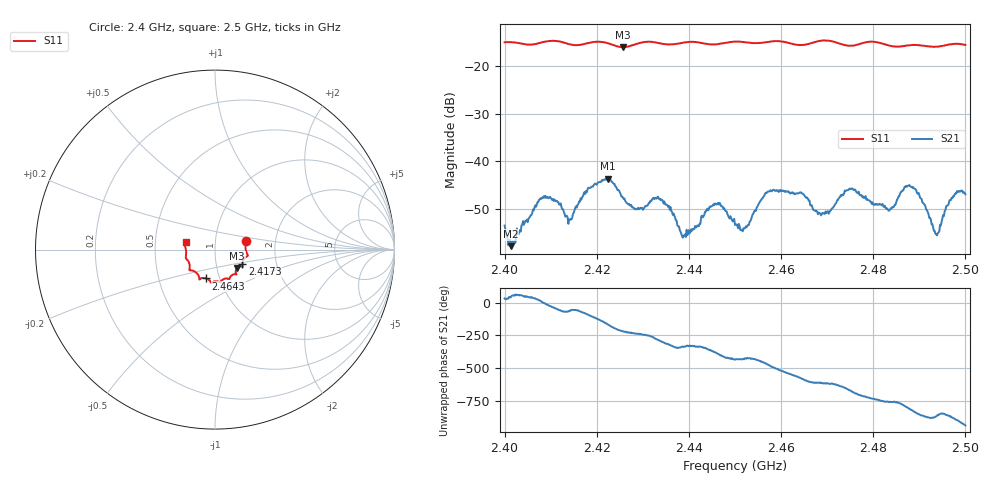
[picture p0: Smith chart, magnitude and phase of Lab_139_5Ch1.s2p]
# Hz S RI R
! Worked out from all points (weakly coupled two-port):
!   601 points, 2.4 GHz to 2.5 GHz, reference 50 ohm
!   highest |S21| = -43.70 dB at 2.4223 GHz (marker M1); lowest = -57.9 dB at 2.4013 GHz (marker M2)
!   lowest |S11| = -15.9 dB at 2.4257 GHz (marker M3), VSWR 1.38, Z = 62.5 - j13.1 ohm
!   |S11| at or under -10 dB: start of sweep to end of sweep
!   S12 and S22 are empty: the file has one direction only
!   S11 on the Smith chart (normalised r, x): 2.4 GHz: 1.41, +0.14; 2.4173 GHz: 1.34, -0.23; 2.4643 GHz: 0.86, -0.28; 2.5 GHz: 0.72, +0.06
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2.4e9  0.1731 0.0497  0.0018 0.00108  0 0  0 0
2.401333e9  0.1751 0.0445  0.00098 0.000809  0 0  0 0
2.408e9  0.1781 -0.0208  0.00397 0.000585  0 0  0 0
2.414167e9  0.1643 -0.048  0.0012 -0.00208  0 0  0 0
2.416667e9  0.1529 -0.0747  0.00131 -0.00372  0 0  0 0
2.417333e9  0.1524 -0.0821  0.000846 -0.00465  0 0  0 0
2.422333e9  0.1497 -0.0936  -0.00631 -0.00167  0 0  0 0
2.425667e9  0.1228 -0.1023  -0.00325 0.00255  0 0  0 0
2.433333e9  0.1126 -0.1366  0.001 0.0041  0 0  0 0
2.438833e9  0.0813 -0.1589  0.00152 0.000615  0 0  0 0
2.445833e9  0.0486 -0.1644  0.00332 -0.00122  0 0  0 0
2.45e9  0.0297 -0.1807  0.000582 -0.00205  0 0  0 0
2.4525e9  0.0205 -0.1785  0.000806 -0.00184  0 0  0 0
2.457167e9  -0.0146 -0.1815  -0.00179 -0.00445  0 0  0 0
2.464333e9  -0.0504 -0.1606  -0.0038 0.00276  0 0  0 0
2.466667e9  -0.0763 -0.1599  -0.00134 0.00315  0 0  0 0
2.475167e9  -0.1082 -0.1251  0.00326 0.0039  0 0  0 0
2.483333e9  -0.1408 -0.0894  0.00241 -0.00178  0 0  0 0
2.488167e9  -0.1608 -0.0498  -0.000422 -0.00537  0 0  0 0
2.493833e9  -0.1617 -0.00319  -0.00128 -0.00104  0 0  0 0
2.497e9  -0.1704 0.0265  -0.00361 -0.00195  0 0  0 0
2.5e9  -0.1636 0.0421  -0.00372 0.0025  0 0  0 0
